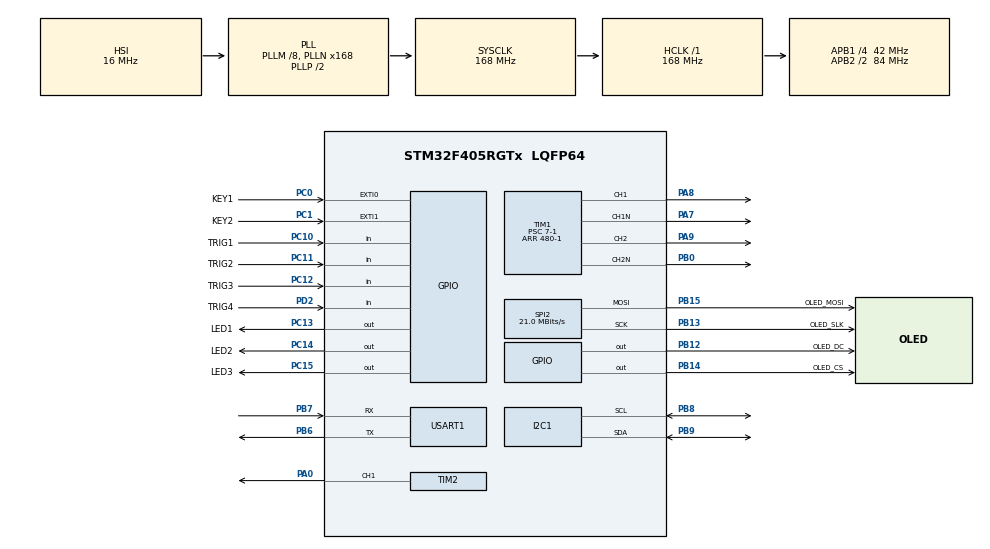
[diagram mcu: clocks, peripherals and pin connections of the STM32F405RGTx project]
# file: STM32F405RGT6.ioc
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Dma.Request0=USART1_RX
Dma.Request1=USART1_TX
Dma.USART1_RX.0.Direction=DMA_PERIPH_TO_MEMORY
Dma.USART1_RX.0.FIFOMode=DMA_FIFOMODE_DISABLE
Dma.USART1_RX.0.Instance=DMA2_Stream2
Dma.USART1_RX.0.MemDataAlignment=DMA_MDATAALIGN_BYTE
Dma.USART1_RX.0.MemInc=DMA_MINC_ENABLE
Dma.USART1_RX.0.Mode=DMA_NORMAL
Dma.USART1_RX.0.PeriphDataAlignment=DMA_PDATAALIGN_BYTE
Dma.USART1_RX.0.PeriphInc=DMA_PINC_DISABLE
Dma.USART1_RX.0.Priority=DMA_PRIORITY_LOW
Dma.USART1_TX.1.Direction=DMA_MEMORY_TO_PERIPH
Dma.USART1_TX.1.FIFOMode=DMA_FIFOMODE_DISABLE
Dma.USART1_TX.1.Instance=DMA2_Stream7
Dma.USART1_TX.1.MemDataAlignment=DMA_MDATAALIGN_BYTE
Dma.USART1_TX.1.MemInc=DMA_MINC_ENABLE
Dma.USART1_TX.1.Mode=DMA_NORMAL
Dma.USART1_TX.1.PeriphDataAlignment=DMA_PDATAALIGN_BYTE
Dma.USART1_TX.1.PeriphInc=DMA_PINC_DISABLE
Dma.USART1_TX.1.Priority=DMA_PRIORITY_LOW
Mcu.Family=STM32F4
Mcu.Name=STM32F405RGTx
Mcu.Package=LQFP64
NVIC.DMA2_Stream2_IRQn=true\:0\:0\:false\:false\:true\:false\:true\:true
NVIC.DMA2_Stream7_IRQn=true\:0\:0\:false\:false\:true\:false\:true\:true
NVIC.EXTI0_IRQn=true\:0\:0\:false\:false\:true\:true\:true\:true
NVIC.EXTI1_IRQn=true\:0\:0\:false\:false\:true\:true\:true\:true
NVIC.PriorityGroup=NVIC_PRIORITYGROUP_4
NVIC.SPI2_IRQn=true\:0\:0\:false\:false\:true\:true\:true\:true
NVIC.TIM3_IRQn=true\:0\:0\:false\:false\:true\:true\:true\:true
NVIC.TIM7_IRQn=true\:0\:0\:false\:false\:true\:true\:true\:true
NVIC.USART1_IRQn=true\:0\:0\:false\:false\:true\:true\:true\:true
PA0-WKUP.Signal=S_TIM2_CH1_ETR
PA13.Mode=Serial_Wire
PA13.Signal=SYS_JTMS-SWDIO
PA14.Mode=Serial_Wire
PA14.Signal=SYS_JTCK-SWCLK
PA7.Mode=PWM Generation1 CH1 CH1N
PA7.Signal=TIM1_CH1N
PA8.Signal=S_TIM1_CH1
PA9.Signal=S_TIM1_CH2
PB0.Mode=PWM Generation2 CH2 CH2N
PB0.Signal=TIM1_CH2N
PB12.GPIO_Label=OLED_DC
PB12.Signal=GPIO_Output
PB13.GPIO_Label=OLED_SLK
PB13.Mode=TX_Only_Simplex_Unidirect_Master
PB13.Signal=SPI2_SCK
PB14.GPIO_Label=OLED_CS
PB14.Signal=GPIO_Output
PB15.GPIO_Label=OLED_MOSI
PB15.Mode=TX_Only_Simplex_Unidirect_Master
PB15.Signal=SPI2_MOSI
PB6.Mode=Asynchronous
PB6.Signal=USART1_TX
PB7.Mode=Asynchronous
PB7.Signal=USART1_RX
PB8.Mode=I2C
PB8.Signal=I2C1_SCL
PB9.Mode=I2C
PB9.Signal=I2C1_SDA
PC0.GPIO_Label=KEY1
PC0.GPIO_ModeDefaultEXTI=GPIO_MODE_IT_RISING
PC0.GPIO_PuPd=GPIO_PULLUP
PC0.Signal=GPXTI0
PC1.GPIO_Label=KEY2
PC1.GPIO_ModeDefaultEXTI=GPIO_MODE_IT_RISING
PC1.GPIO_PuPd=GPIO_PULLUP
PC1.Signal=GPXTI1
PC10.GPIO_Label=TRIG1
PC10.GPIO_PuPd=GPIO_PULLUP
PC10.Signal=GPIO_Input
PC11.GPIO_Label=TRIG2
PC11.GPIO_PuPd=GPIO_PULLUP
PC11.Signal=GPIO_Input
PC12.GPIO_Label=TRIG3
PC12.GPIO_PuPd=GPIO_PULLUP
PC12.Signal=GPIO_Input
PC13-ANTI_TAMP.GPIO_Label=LED1
PC13-ANTI_TAMP.Signal=GPIO_Output
PC14-OSC32_IN.GPIO_Label=LED2
PC14-OSC32_IN.Signal=GPIO_Output
PC15-OSC32_OUT.GPIO_Label=LED3
PC15-OSC32_OUT.Signal=GPIO_Output
PD2.GPIO_Label=TRIG4
PD2.GPIO_PuPd=GPIO_PULLUP
PD2.Signal=GPIO_Input
PH0-OSC_IN.Mode=HSE-External-Oscillator
PH0-OSC_IN.Signal=RCC_OSC_IN
PH1-OSC_OUT.Mode=HSE-External-Oscillator
PH1-OSC_OUT.Signal=RCC_OSC_OUT
ProjectManager.HeapSize=0x200
ProjectManager.StackSize=0x400
ProjectManager.TargetToolchain=MDK-ARM V5.32
RCC.48MHZClocksFreq_Value=84000000
RCC.AHBFreq_Value=168000000
RCC.APB1CLKDivider=RCC_HCLK_DIV4
RCC.APB1Freq_Value=42000000
RCC.APB1TimFreq_Value=84000000
RCC.APB2CLKDivider=RCC_HCLK_DIV2
RCC.APB2Freq_Value=84000000
RCC.APB2TimFreq_Value=168000000
RCC.CortexFreq_Value=168000000
RCC.HCLKFreq_Value=168000000
RCC.HSE_VALUE=8000000
RCC.HSI_VALUE=16000000
RCC.LSE_VALUE=32768
RCC.PLLM=8
RCC.PLLN=168
RCC.SYSCLKFreq_VALUE=168000000
RCC.SYSCLKSource=RCC_SYSCLKSOURCE_PLLCLK
RCC.VCOOutputFreq_Value=336000000
SH.S_TIM1_CH1.0=TIM1_CH1,PWM Generation1 CH1 CH1N
SH.S_TIM1_CH2.0=TIM1_CH2,PWM Generation2 CH2 CH2N
SH.S_TIM2_CH1_ETR.0=TIM2_CH1,PWM Generation1 CH1
SPI2.CalculateBaudRate=21.0 MBits/s
SPI2.Direction=SPI_DIRECTION_2LINES
SPI2.Mode=SPI_MODE_MASTER
SPI2.VirtualType=VM_MASTER
TIM1.Channel-PWM\ Generation1\ CH1\ CH1N=TIM_CHANNEL_1
TIM1.Channel-PWM\ Generation2\ CH2\ CH2N=TIM_CHANNEL_2
TIM1.DeadTime=50
TIM1.Period=480-1
TIM1.Prescaler=7-1
TIM2.Channel-PWM\ Generation1\ CH1=TIM_CHANNEL_1
TIM2.Period=2500-1
TIM2.Prescaler=168-1
TIM3.AutoReloadPreload=TIM_AUTORELOAD_PRELOAD_ENABLE
TIM3.Period=1000-1
TIM3.Prescaler=168-1
TIM7.AutoReloadPreload=TIM_AUTORELOAD_PRELOAD_ENABLE
TIM7.Period=1000-1
TIM7.Prescaler=168-1
USART1.VirtualMode=VM_ASYNC
VP_TIM1_VS_ClockSourceINT.Mode=Internal
VP_TIM2_VS_ClockSourceINT.Mode=Internal
VP_TIM3_VS_ClockSourceINT.Mode=Internal
VP_TIM7_VS_ClockSourceINT.Mode=Enable_Timer
board=custom

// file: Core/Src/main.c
/* USER CODE BEGIN Header */

//************************共创芯未来******************************************/
/**
  ******************************************************************************
  * @file           : main.c
  * @brief          : Main program body
  ******************************************************************************
  * @attention
  *
  * Copyright (c) 2024 STMicroelectronics.
  * All rights reserved.
  *
  * This software is licensed under terms that can be found in the LICENSE file
  * in the root directory of this software component.
  * If no LICENSE file comes with this software, it is provided AS-IS.
  *
  ******************************************************************************
  */
/* USER CODE END Header */
#include "main.h"
#include "dma.h"
#include "i2c.h"
#include "spi.h"
#include "tim.h"
#include "usart.h"
#include "gpio.h"

/* USER CODE BEGIN Includes */
#include "oled.h"
#include "ina226.h"
/* USER CODE END Includes */

/* USER CODE BEGIN PD */

/******************************************PID参数定义************************************************/
float kp=20;
float ki=0.2;
float kd=0.5;

float input=0.0f;
float detpwm=0;
float integral;//积分
float setcur,nowcur=0;
float error=0.0;
float lasterror=0.0;

/* USER CODE END PD */

/* USER CODE BEGIN PM */
uint8_t buffer[20];
uint16_t  k[4];

float batteryVolt=0.0,batteryCur=0.0,cupVolt=0.0,cupCur=0.0;
int Num1=0,Num2=0,Num3=0,Num4=0,Num5=0,Num6=0,STEP=0,Beep1=1;
int E1=0,E2=0,E3=0;
int SUP_Error=0;
int PWM=0,a=0;
float status=0;
/* USER CODE END PM */

void SystemClock_Config(void);

/* USER CODE BEGIN 0 */

  double PID_Calcu(float setcur, float input) //增量式PID计算函数
	{
		//计算内环PID控制器输出
		detpwm=0;
    error = setcur-input;
    integral += error;
    lasterror = error;
		float derivative = error - lasterror;//微分
    float detpwm = kp * error + ki * integral + kd * derivative;//p追，i追的更快，d减少抖动
	  if(detpwm>=20||detpwm<=-20)//比例限幅
		{detpwm=10;}
		return detpwm;
  }

	void Check(void)//报错检测函数
{
	if(batteryVolt>=23)
	{
		SUP_Error=1;
	}
	else if(batteryCur>=3)
	{
		SUP_Error=2;
	}
	else if(batteryVolt*batteryCur>=100)
	{
		SUP_Error=3;
	}
	else
	{
		SUP_Error=0;
	}
}

/* USER CODE END 0 */

int main(void)
{

  /* MCU Configuration--------------------------------------------------------*/

  /* Reset of all peripherals, Initializes the Flash interface and the Systick. */
  HAL_Init();

  /* Configure the system clock */
  SystemClock_Config();

  /* Initialize all configured peripherals */
  MX_GPIO_Init();
  MX_DMA_Init();
  MX_I2C1_Init();
  MX_SPI2_Init();
  MX_USART1_UART_Init();
	MX_TIM1_Init();
  MX_TIM2_Init();
  MX_TIM3_Init();
  MX_TIM7_Init();
  /* USER CODE BEGIN 2 */

	/******************************************LED灯测试************************************************/

//	HAL_GPIO_WritePin (LED1_GPIO_Port ,LED1_Pin ,GPIO_PIN_SET );
//	HAL_GPIO_WritePin (LED2_GPIO_Port ,LED2_Pin ,GPIO_PIN_SET );
//	HAL_GPIO_WritePin (LED3_GPIO_Port ,LED3_Pin ,GPIO_PIN_SET );

/******************************************拨码按钮测试*********************************************/

//	k[0]=HAL_GPIO_ReadPin (TRIG1_GPIO_Port ,TRIG1_Pin );  //拨码按钮与普通按钮一样使用，上拨是0，下拨是1
//	k[1]=HAL_GPIO_ReadPin (TRIG2_GPIO_Port ,TRIG2_Pin );
//	k[2]=HAL_GPIO_ReadPin (TRIG3_GPIO_Port ,TRIG3_Pin );
//	k[3]=HAL_GPIO_ReadPin (TRIG4_GPIO_Port ,TRIG4_Pin );

/******************************************OLED显示屏测试************************************************/

//	OLED_ShowString(0,0,(uint8_t *)"SuperCap:",16,1);        //(spi）oled显示，注意！显示之后需要Refresh刷新屏幕
//	OLED_ShowNum(0,17,k[0],1,16,1);
//  OLED_Refresh();//更新显示

/******************************************CAN通讯测试************************************************/
//初始化代码，while中收发循环代码
////	uint8_t Send_Data=0;//官方can.c中还需加入can调用的库函数《引用中科大can通讯代码》
//  CAN_Init (&hcan1);
//	CAN_Filter_Mask_Config (&hcan1 ,CAN_FILTER (13)|CAN_FIFO_1|CAN_STDID |CAN_DATA_TYPE ,0x114,0x7ff );  //开启can通讯的fifo

////  CAN_Send_Data (&hcan1 ,0x114,Send_Data,1); //不适用，while中有循环

/******************************************INA226电流电压检测模块测试************************************************/

//  float status=0;                               //INA226初始化
//	uint16_t configWord = 0x45C7;   //0x4527	 //address_in 中设置地址
//	status =INA226_setConfig(&hi2c1, INA226_ADDRESS_IN1,configWord);//INA226_MODE_CONT_SHUNT_AND_BUS|INA226_VSH_140uS|INA226_VBUS_140uS|INA226_AVG_1|INA226_RESET_ACTIVE配置 INA226 电流/电压监测芯片的寄存器。
//	INA226_setCalibrationReg(&hi2c1, INA226_ADDRESS_IN1,0x0A00);//设置INA226芯片的校准寄存器0x0A000x4127
////	INA226_setMaskEnable(&hi2c1, INA226_ADDRESS_OUT, INA226_RESET_INACTIVE);//设置INA226芯片的掩码寄存器
////	INA226_setAlertLimit(&hi2c1, INA226_ADDRESS_OUT, INA226_RESET_INACTIVE);//设置INA226芯片的警报限制寄存器

/******************************************USART串口模块测试************************************************/
	// __HAL_UART_ENABLE_IT (&huart1,UART_IT_IDLE );          //中断使能
	// HAL_UART_Receive_DMA (&huart1,buffer,sizeof(buffer));  //cubemx开启dma串口通讯

/******************************************互补PWM测试************************************************/
//	HAL_TIM_Base_Start (&htim2 );
//	HAL_TIM_PWM_Start(&htim2,TIM_CHANNEL_1);
//
//
//  HAL_TIM_Base_Start(&htim1);  //互补PWM输出，满占空比480
//	HAL_TIM_PWM_Start(&htim1,TIM_CHANNEL_1);
//  HAL_TIMEx_PWMN_Start (&htim1,TIM_CHANNEL_1);
//	HAL_TIM_PWM_Start(&htim1,TIM_CHANNEL_2);
//  HAL_TIMEx_PWMN_Start (&htim1,TIM_CHANNEL_2);
//
//	__HAL_TIM_SetCompare(&htim1,TIM_CHANNEL_1,0);
//	__HAL_TIM_SetCompare(&htim1,TIM_CHANNEL_2,0);

	HAL_GPIO_WritePin (LED1_GPIO_Port ,LED1_Pin ,GPIO_PIN_SET );//代码开始初始化标志灯
	HAL_GPIO_WritePin (LED2_GPIO_Port ,LED2_Pin ,GPIO_PIN_SET );
	HAL_GPIO_WritePin (LED3_GPIO_Port ,LED3_Pin ,GPIO_PIN_SET );

	OLED_Init();//OLED初始化
	HAL_Delay (10);
	OLED_Clear();
	OLED_ShowString(0,0,(uint8_t *)"SuperCap:",16,1);//显示之后需要Refresh刷新屏幕
  OLED_Refresh();//更新显示

	__HAL_UART_ENABLE_IT (&huart1,UART_IT_IDLE );          //中断使能
	HAL_UART_Receive_DMA (&huart1,buffer,sizeof(buffer));  //cubemx开启dma串口通讯

	uint16_t configWord = 0x45C7;//0x4527	//INA226初始化   //address_in 中设置地址
	status =INA226_setConfig(&hi2c1, INA226_ADDRESS_IN2,configWord);//INA226_MODE_CONT_SHUNT_AND_BUS|INA226_VSH_140uS|INA226_VBUS_140uS|INA226_AVG_1|INA226_RESET_ACTIVE配置 INA226 电流/电压监测芯片的寄存器。
	INA226_setCalibrationReg(&hi2c1, INA226_ADDRESS_IN2,0x0A00);//设置INA226芯片的校准寄存器0x0A000x4127
	status =INA226_setConfig(&hi2c1, INA226_ADDRESS_IN1,configWord);//INA226_MODE_CONT_SHUNT_AND_BUS|INA226_VSH_140uS|INA226_VBUS_140uS|INA226_AVG_1|INA226_RESET_ACTIVE配置 INA226 电流/电压监测芯片的寄存器。
	INA226_setCalibrationReg(&hi2c1, INA226_ADDRESS_IN1,0x0A00);//设置INA226芯片的校准寄存器0x0A000x4127

	k[0]=HAL_GPIO_ReadPin (TRIG1_GPIO_Port ,TRIG1_Pin );  //拨码按钮使用，上拨是0，下拨是1
	k[1]=HAL_GPIO_ReadPin (TRIG2_GPIO_Port ,TRIG2_Pin );
	k[2]=HAL_GPIO_ReadPin (TRIG3_GPIO_Port ,TRIG3_Pin );
	k[3]=HAL_GPIO_ReadPin (TRIG4_GPIO_Port ,TRIG4_Pin );
  OLED_ShowNum(0,17,k[0],1,16,1);
	OLED_ShowNum(10,17,k[1],1,16,1);
	OLED_ShowNum(20,17,k[2],1,16,1);
	OLED_ShowNum(30,17,k[3],1,16,1);
	OLED_Refresh();//更新显示

	HAL_TIM_Base_Start_IT (&htim3 );//tim3 开启定时器中断
	HAL_TIM_Base_Start_IT (&htim7 );//tim7 开启定时器中断
  HAL_TIM_Base_Start (&htim2 );
	HAL_TIM_PWM_Start(&htim2,TIM_CHANNEL_1);

  HAL_TIM_Base_Start(&htim1);  //互补PWM输出，满占空比480
	HAL_TIM_PWM_Start(&htim1,TIM_CHANNEL_1);
  HAL_TIMEx_PWMN_Start (&htim1,TIM_CHANNEL_1);
	HAL_TIM_PWM_Start(&htim1,TIM_CHANNEL_2);
  HAL_TIMEx_PWMN_Start (&htim1,TIM_CHANNEL_2);

	__HAL_TIM_SetCompare(&htim1,TIM_CHANNEL_1,0);
	__HAL_TIM_SetCompare(&htim1,TIM_CHANNEL_2,0);

	HAL_GPIO_WritePin (LED1_GPIO_Port ,LED1_Pin ,GPIO_PIN_RESET );//代码初始化完成标志灯
	HAL_GPIO_WritePin (LED2_GPIO_Port ,LED2_Pin ,GPIO_PIN_RESET );
	HAL_GPIO_WritePin (LED3_GPIO_Port ,LED3_Pin ,GPIO_PIN_RESET );

  /* USER CODE END 2 */

  /* Infinite loop */
  /* USER CODE BEGIN WHILE */
  while (1)
  {
	__HAL_TIM_SetCompare(&htim1,TIM_CHANNEL_1,PWM);
	__HAL_TIM_SetCompare(&htim1,TIM_CHANNEL_2,PWM);

    /* USER CODE END WHILE */

  }
}

void SystemClock_Config(void)
{
  RCC_OscInitTypeDef RCC_OscInitStruct = {0};
  RCC_ClkInitTypeDef RCC_ClkInitStruct = {0};

  /** Configure the main internal regulator output voltage
  */
  __HAL_RCC_PWR_CLK_ENABLE();
  __HAL_PWR_VOLTAGESCALING_CONFIG(PWR_REGULATOR_VOLTAGE_SCALE1);

  /** Initializes the RCC Oscillators according to the specified parameters
  * in the RCC_OscInitTypeDef structure.
  */
  RCC_OscInitStruct.OscillatorType = RCC_OSCILLATORTYPE_HSI;
  RCC_OscInitStruct.HSIState = RCC_HSI_ON;
  RCC_OscInitStruct.HSICalibrationValue = RCC_HSICALIBRATION_DEFAULT;
  RCC_OscInitStruct.PLL.PLLState = RCC_PLL_ON;
  RCC_OscInitStruct.PLL.PLLSource = RCC_PLLSOURCE_HSI;
  RCC_OscInitStruct.PLL.PLLM = 8;
  RCC_OscInitStruct.PLL.PLLN = 168;
  RCC_OscInitStruct.PLL.PLLP = RCC_PLLP_DIV2;
  RCC_OscInitStruct.PLL.PLLQ = 4;
  if (HAL_RCC_OscConfig(&RCC_OscInitStruct) != HAL_OK)
  {
    Error_Handler();
  }

  /** Initializes the CPU, AHB and APB buses clocks
  */
  RCC_ClkInitStruct.ClockType = RCC_CLOCKTYPE_HCLK|RCC_CLOCKTYPE_SYSCLK
                              |RCC_CLOCKTYPE_PCLK1|RCC_CLOCKTYPE_PCLK2;
  RCC_ClkInitStruct.SYSCLKSource = RCC_SYSCLKSOURCE_PLLCLK;
  RCC_ClkInitStruct.AHBCLKDivider = RCC_SYSCLK_DIV1;
  RCC_ClkInitStruct.APB1CLKDivider = RCC_HCLK_DIV4;
  RCC_ClkInitStruct.APB2CLKDivider = RCC_HCLK_DIV2;

  if (HAL_RCC_ClockConfig(&RCC_ClkInitStruct, FLASH_LATENCY_5) != HAL_OK)
  {
    Error_Handler();
  }
}

/* USER CODE BEGIN 4 */
/************************************************按键中断****************************************************/

void HAL_GPIO_EXTI_Callback(uint16_t GPIO_Pin)
{

	switch(GPIO_Pin )
	{
		 case KEY1_Pin:setcur =0.5; break;
		 case KEY2_Pin:setcur =1.0; break;

	 }

}

/******************************************定时器中断TIM3,TIM7************************************************/
void HAL_TIM_PeriodElapsedCallback (TIM_HandleTypeDef *htim)
		{

			if(htim->Instance  == htim3 .Instance )
			{
				Num1++;
				Num2++;
				if(Num1 ==500)//一秒频闪
				{
					HAL_GPIO_TogglePin(LED1_GPIO_Port ,LED1_Pin);
					if(PWM<450)//限幅
					{
					PWM+=PID_Calcu(setcur ,cupCur);//增量式pid输出值
					}
					if(PWM<0)
					{
					PWM=0;
					}
					Num1=0;

				}
				if(Num2 ==10)  //电流电压检测采样
				{

		 			batteryVolt=INA226_getBusV(&hi2c1, INA226_ADDRESS_IN2);
		      batteryCur=INA226_getCurrent(&hi2c1, INA226_ADDRESS_IN2);
					cupVolt=INA226_getBusV(&hi2c1, INA226_ADDRESS_IN1);
		      cupCur=INA226_getCurrent(&hi2c1, INA226_ADDRESS_IN1);
					Num2 = 0;

				}

			}

			if(htim->Instance  == htim7 .Instance )
			{
				E1++;
				E2++;
				if(E1 ==500)//一秒频闪
				{
					if(SUP_Error==0)//无报错
					{
						__HAL_TIM_SetCompare(&htim2,TIM_CHANNEL_1,0);
					}
					if(SUP_Error==3)//长响蜂鸣器
					{
						__HAL_TIM_SetCompare(&htim2,TIM_CHANNEL_1,1250);
					}
					if(SUP_Error==1)//缓速蜂鸣器
					{
					Beep1 =~Beep1;

					if(Beep1==1)
					__HAL_TIM_SetCompare(&htim2,TIM_CHANNEL_1,1250);
					else
					__HAL_TIM_SetCompare(&htim2,TIM_CHANNEL_1,0);
				  }
					E1=0;
				}

				if(E2 ==100)//急促蜂鸣器
				{
					if(SUP_Error==2)
					{
					Beep1 =~Beep1;
					if(Beep1==1)
					__HAL_TIM_SetCompare(&htim2,TIM_CHANNEL_1,1250);
					else
					__HAL_TIM_SetCompare(&htim2,TIM_CHANNEL_1,0);
				  }
					E2=0;
				}

			}
		}

/* USER CODE END 4 */

void Error_Handler(void)
{
  __disable_irq();
  while (1)
  {
  }
}
